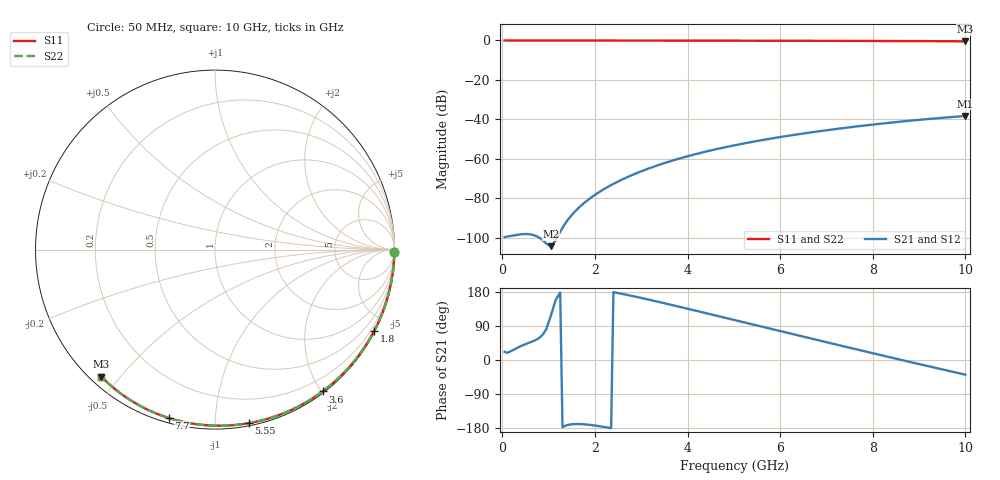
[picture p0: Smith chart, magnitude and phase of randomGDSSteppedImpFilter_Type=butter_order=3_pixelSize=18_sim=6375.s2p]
! freq	dB(S11)	phase(S11)	dB(S12)	phase(S12)
!  dB(S21)	phase(S21)	dB(S22)	phase(S22)
!S-par simulation data
#  GHz  S  DB  R 50
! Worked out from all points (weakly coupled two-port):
!   200 points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, 50 MHz to 10 GHz, reference 50 ohm
!   highest |S21| = -38.33 dB at 10 GHz (marker M1); lowest = -104.4 dB at 1.05 GHz (marker M2)
!   lowest |S11| = -0.4 dB at 10 GHz (marker M3), VSWR 39.07, Z = 1.54 - j22.3 ohm
!   |S11| at or under -10 dB: nowhere
!   |S22| runs from -0.4 to 0.0 dB; largest |S21 - S12| = 0
!   S11 on the Smith chart (normalised r, x): 50 MHz: open; 1.8 GHz: 0.04, -4.16; 3.6 GHz: 0.02, -2.01; 5.55 GHz: 0.02, -1.22; 7.7 GHz: 0.02, -0.76; 10 GHz: 0.03, -0.45
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0.05  -0.00 -0.8  -99.87 21.6  -99.87 21.6  -0.00 -0.8
0.55  -0.01 -8.3  -98.27 44.2  -98.27 44.2  -0.01 -8.3
1.05  -0.02 -15.9  -104.39 117.1  -104.39 117.1  -0.02 -15.9
1.75  -0.03 -26.3  -82.80 -169.6  -82.80 -169.6  -0.03 -26.3
1.8  -0.03 -27.0  -81.82 -170.1  -81.82 -170.1  -0.03 -27.0
1.9  -0.04 -28.5  -80.02 -171.3  -80.02 -171.3  -0.04 -28.5
2.05  -0.04 -30.7  -77.57 -173.7  -77.57 -173.7  -0.04 -30.7
2.25  -0.04 -33.6  -74.69 -177.7  -74.69 -177.7  -0.04 -33.6
2.45  -0.05 -36.5  -72.15 177.8  -72.15 177.8  -0.05 -36.5
2.65  -0.05 -39.4  -69.88 173.0  -69.88 173.0  -0.05 -39.4
3  -0.06 -44.4  -66.40 163.8  -66.40 163.8  -0.06 -44.4
3.4  -0.07 -50.0  -63.00 152.7  -63.00 152.7  -0.07 -50.0
3.6  -0.07 -52.8  -61.49 147.0  -61.49 147.0  -0.07 -52.8
4.3  -0.09 -62.4  -56.94 126.4  -56.94 126.4  -0.09 -62.4
5.05  -0.11 -72.4  -53.02 104.1  -53.02 104.1  -0.11 -72.4
5.55  -0.13 -78.9  -50.81 89.3  -50.81 89.3  -0.13 -78.9
6.1  -0.15 -85.9  -48.64 73.1  -48.64 73.1  -0.15 -85.9
6.7  -0.18 -93.3  -46.54 55.6  -46.54 55.6  -0.18 -93.3
7.7  -0.24 -105.3  -43.50 26.5  -43.50 26.5  -0.24 -105.3
8.35  -0.29 -112.9  -41.79 7.8  -41.79 7.8  -0.29 -112.9
9.15  -0.36 -122.2  -39.96 -15.0  -39.96 -15.0  -0.36 -122.2
10  -0.44 -131.8  -38.33 -38.6  -38.33 -38.6  -0.44 -131.8
